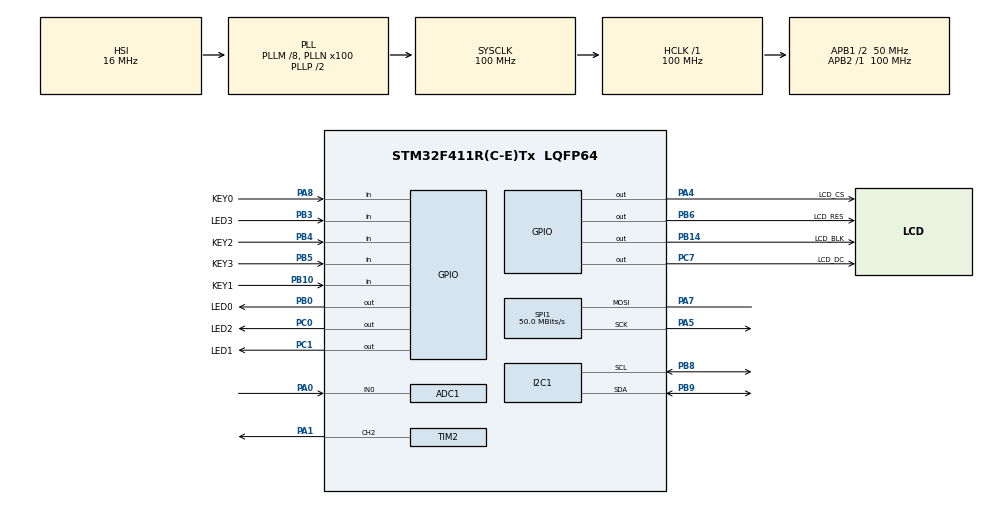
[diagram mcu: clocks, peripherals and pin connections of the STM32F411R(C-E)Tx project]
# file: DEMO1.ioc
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ADC1.Channel-0\#ChannelRegularConversion=ADC_CHANNEL_0
ADC1.ClockPrescaler=ADC_CLOCK_SYNC_PCLK_DIV6
ADC1.ContinuousConvMode=DISABLE
ADC1.DMAContinuousRequests=ENABLE
ADC1.EOCSelection=ADC_EOC_SINGLE_CONV
ADC1.NbrOfConversion=1
ADC1.NbrOfConversionFlag=1
ADC1.Rank-0\#ChannelRegularConversion=1
ADC1.SamplingTime-0\#ChannelRegularConversion=ADC_SAMPLETIME_15CYCLES
ADC1.ScanConvMode=DISABLE
ADC1.master=1
Dma.ADC1.0.Direction=DMA_PERIPH_TO_MEMORY
Dma.ADC1.0.FIFOMode=DMA_FIFOMODE_DISABLE
Dma.ADC1.0.Instance=DMA2_Stream0
Dma.ADC1.0.MemDataAlignment=DMA_MDATAALIGN_HALFWORD
Dma.ADC1.0.MemInc=DMA_MINC_ENABLE
Dma.ADC1.0.Mode=DMA_CIRCULAR
Dma.ADC1.0.PeriphDataAlignment=DMA_PDATAALIGN_HALFWORD
Dma.ADC1.0.PeriphInc=DMA_PINC_DISABLE
Dma.ADC1.0.Priority=DMA_PRIORITY_LOW
Dma.Request0=ADC1
Dma.Request1=SPI1_TX
Dma.SPI1_TX.1.Direction=DMA_MEMORY_TO_PERIPH
Dma.SPI1_TX.1.FIFOMode=DMA_FIFOMODE_DISABLE
Dma.SPI1_TX.1.Instance=DMA2_Stream2
Dma.SPI1_TX.1.MemDataAlignment=DMA_MDATAALIGN_BYTE
Dma.SPI1_TX.1.MemInc=DMA_MINC_ENABLE
Dma.SPI1_TX.1.Mode=DMA_NORMAL
Dma.SPI1_TX.1.PeriphDataAlignment=DMA_PDATAALIGN_BYTE
Dma.SPI1_TX.1.PeriphInc=DMA_PINC_DISABLE
Dma.SPI1_TX.1.Priority=DMA_PRIORITY_HIGH
FREERTOS.Mutexes01=myMutex,Dynamic,NULL,Available
FREERTOS.Tasks01=defaultTask,0,128,StartDefaultTask,As weak,NULL,Dynamic,NULL,NULL;LCDTask,0,1024,StartLCDTask,As weak,NULL,Dynamic,NULL,NULL;TIMETask03,0,128,StartTask03,As weak,NULL,Dynamic,NULL,NULL;LM75Task,-3,128,StartLM75Task,As weak,NULL,Dynamic,NULL,NULL;ADCTask,-3,128,StartADCTask,As weak,NULL,Dynamic,NULL,NULL;LEDTask,-3,128,StartLEDTask,As weak,NULL,Dynamic,NULL,NULL;BEEPTask,-3,128,StartBEEPTask,As weak,NULL,Dynamic,NULL,NULL
FREERTOS.configUSE_TICK_HOOK=1
Mcu.Family=STM32F4
Mcu.Name=STM32F411R(C-E)Tx
Mcu.Package=LQFP64
NVIC.DMA2_Stream0_IRQn=true\:5\:0\:false\:false\:true\:true\:false\:true\:true
NVIC.DMA2_Stream2_IRQn=true\:5\:0\:false\:false\:true\:true\:false\:true\:true
NVIC.I2C1_ER_IRQn=true\:5\:0\:false\:false\:true\:true\:true\:true\:true
NVIC.I2C1_EV_IRQn=true\:5\:0\:false\:false\:true\:true\:true\:true\:true
NVIC.PriorityGroup=NVIC_PRIORITYGROUP_4
NVIC.SPI1_IRQn=true\:5\:0\:false\:false\:true\:true\:true\:true\:true
NVIC.TIM1_UP_TIM10_IRQn=true\:5\:0\:false\:false\:true\:true\:true\:true\:true
NVIC.TIM2_IRQn=true\:5\:0\:false\:false\:true\:true\:true\:true\:true
NVIC.TIM4_IRQn=true\:15\:0\:false\:false\:true\:false\:false\:true\:true
NVIC.TimeBase=TIM4_IRQn
NVIC.TimeBaseIP=TIM4
PA0-WKUP.Signal=ADCx_IN0
PA1.Signal=S_TIM2_CH2
PA13.Mode=Serial_Wire
PA13.Signal=SYS_JTMS-SWDIO
PA14.Mode=Serial_Wire
PA14.Signal=SYS_JTCK-SWCLK
PA4.GPIO_Label=LCD_CS
PA4.Signal=GPIO_Output
PA5.Mode=Simplex_Bidirectional_Master
PA5.Signal=SPI1_SCK
PA7.Mode=Simplex_Bidirectional_Master
PA7.Signal=SPI1_MOSI
PA8.GPIO_Label=KEY0
PA8.Signal=GPIO_Input
PB0.GPIO_Label=LED0
PB0.Signal=GPIO_Output
PB10.GPIO_Label=KEY1
PB10.Signal=GPIO_Input
PB14.GPIO_Label=LCD_BLK
PB14.Signal=GPIO_Output
PB3.GPIO_Label=LED3
PB3.Signal=GPIO_Input
PB4.GPIO_Label=KEY2
PB4.Signal=GPIO_Input
PB5.GPIO_Label=KEY3
PB5.Signal=GPIO_Input
PB6.GPIO_Label=LCD_RES
PB6.Signal=GPIO_Output
PB8.Mode=I2C
PB8.Signal=I2C1_SCL
PB9.Mode=I2C
PB9.Signal=I2C1_SDA
PC0.GPIO_Label=LED2
PC0.Signal=GPIO_Output
PC1.GPIO_Label=LED1
PC1.Signal=GPIO_Output
PC14-OSC32_IN.Mode=LSE-External-Clock-Source
PC14-OSC32_IN.Signal=RCC_OSC32_IN
PC15-OSC32_OUT.Mode=LSE-External-Clock-Source
PC15-OSC32_OUT.Signal=RCC_OSC32_OUT
PC7.GPIO_Label=LCD_DC
PC7.Signal=GPIO_Output
PH0\ -\ OSC_IN.Mode=HSE-External-Oscillator
PH0\ -\ OSC_IN.Signal=RCC_OSC_IN
PH1\ -\ OSC_OUT.Mode=HSE-External-Oscillator
PH1\ -\ OSC_OUT.Signal=RCC_OSC_OUT
ProjectManager.HeapSize=0x200
ProjectManager.StackSize=0x400
ProjectManager.TargetToolchain=MDK-ARM V5.32
RCC.48MHZClocksFreq_Value=50000000
RCC.AHBFreq_Value=100000000
RCC.APB1CLKDivider=RCC_HCLK_DIV2
RCC.APB1Freq_Value=50000000
RCC.APB1TimFreq_Value=100000000
RCC.APB2Freq_Value=100000000
RCC.APB2TimFreq_Value=100000000
RCC.CortexFreq_Value=100000000
RCC.HCLKFreq_Value=100000000
RCC.HSE_VALUE=8000000
RCC.HSI_VALUE=16000000
RCC.LSE_VALUE=32768
RCC.PLLM=8
RCC.PLLN=100
RCC.SYSCLKFreq_VALUE=100000000
RCC.SYSCLKSource=RCC_SYSCLKSOURCE_PLLCLK
RCC.VCOOutputFreq_Value=200000000
SH.ADCx_IN0.0=ADC1_IN0,IN0
SH.S_TIM2_CH2.0=TIM2_CH2,PWM Generation2 CH2
SPI1.BaudRatePrescaler=SPI_BAUDRATEPRESCALER_2
SPI1.CLKPhase=SPI_PHASE_2EDGE
SPI1.CLKPolarity=SPI_POLARITY_HIGH
SPI1.CalculateBaudRate=50.0 MBits/s
SPI1.Direction=SPI_DIRECTION_1LINE
SPI1.Mode=SPI_MODE_MASTER
SPI1.VirtualType=VM_MASTER
TIM10.Period=9999
TIM10.Prescaler=49
TIM2.Channel-PWM\ Generation2\ CH2=TIM_CHANNEL_2
TIM2.Period=72
TIM2.Prescaler=3816
VP_FREERTOS_VS_CMSIS_V1.Mode=CMSIS_V1
VP_SYS_VS_tim4.Mode=TIM4
VP_TIM10_VS_ClockSourceINT.Mode=Enable_Timer
VP_TIM2_VS_ClockSourceINT.Mode=Internal
board=custom

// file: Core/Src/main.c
/* USER CODE BEGIN Header */
/**
  ******************************************************************************
  * @file           : main.c
  * @brief          : Main program body
  ******************************************************************************
  * @attention
  *
  * Copyright (c) 2025 STMicroelectronics.
  * All rights reserved.
  *
  * This software is licensed under terms that can be found in the LICENSE file
  * in the root directory of this software component.
  * If no LICENSE file comes with this software, it is provided AS-IS.
  *
  ******************************************************************************
  */
/* USER CODE END Header */
#include "main.h"
#include "cmsis_os.h"
#include "adc.h"
#include "dma.h"
#include "i2c.h"
#include "spi.h"
#include "tim.h"
#include "gpio.h"

/* USER CODE BEGIN Includes */
#include "st7789.h"
#include "key.h"
#include "LM75AD.h"
#include "lvgl.h"
#include "lv_port_disp.h"
#include "lv_port_indev.h"
#include "gui_guider.h"
#include "events_init.h"
#include "custom.h"
#include "BEEP.h"
/* USER CODE END Includes */

/* USER CODE BEGIN PV */
double temperature=0;
volatile  float voltage=0;
char buffer[100];
volatile uint16_t adcValue = 0; // ADC
/* USER CODE END PV */

void SystemClock_Config(void);
void MX_FREERTOS_Init(void);

/* USER CODE BEGIN 0 */
extern osMutexId myMutexHandle;
volatile int con=0;

 lv_ui guider_ui;

extern int screen_analog_clock_1_hour_value ;
extern int screen_analog_clock_1_min_value ;
extern int screen_analog_clock_1_sec_value;
extern unsigned short int alarm_min;
extern unsigned short int alarm_hour;

volatile bool need_ui_update = false; // UI
//
void update_ui_if_needed(void)
{
  static uint32_t last_update = 0;
  uint32_t now = HAL_GetTick();

  // creen_3
  bool is_screen3_active = (lv_scr_act() == guider_ui.screen_3);

  // UI
  if(need_ui_update && (now - last_update > 200) && is_screen3_active) {
    // creen_3
    if(lv_scr_act() != guider_ui.screen_3) {
      return; //
    }

    last_update = now;
    need_ui_update = false;

    //
    if(guider_ui.screen_3_temp != NULL && lv_obj_is_valid(guider_ui.screen_3_temp)) {
      char temp_str[20];
      sprintf(temp_str, "%.1f C", temperature);
      lv_label_set_text(guider_ui.screen_3_temp, temp_str);
    }

    if(guider_ui.screen_3_bar_2 != NULL && lv_obj_is_valid(guider_ui.screen_3_bar_2)) {
      int temp_value = (int)(temperature);
      if(temp_value < 0) temp_value = 0;
      if(temp_value > 100) temp_value = 100;
      lv_bar_set_value(guider_ui.screen_3_bar_2, temp_value, LV_ANIM_ON);
    }

    //
    if(guider_ui.screen_3_voltage != NULL && lv_obj_is_valid(guider_ui.screen_3_voltage)) {
      char volt_str[20];
      sprintf(volt_str, "%.2f V", voltage);
      lv_label_set_text(guider_ui.screen_3_voltage, volt_str);
    }

    if(guider_ui.screen_3_bar_1 != NULL && lv_obj_is_valid(guider_ui.screen_3_bar_1)) {
      int volt_value = (int)(voltage * 100);
      lv_bar_set_value(guider_ui.screen_3_bar_1, volt_value, LV_ANIM_ON);
    }
  }
}
/* USER CODE END 0 */

int main(void)
{

  /* MCU Configuration--------------------------------------------------------*/

  /* Reset of all peripherals, Initializes the Flash interface and the Systick. */
  HAL_Init();

  /* Configure the system clock */
  SystemClock_Config();

  /* Initialize all configured peripherals */
  MX_GPIO_Init();
  MX_DMA_Init();
  MX_ADC1_Init();
  MX_I2C1_Init();
  MX_SPI1_Init();
  MX_TIM10_Init();
  MX_TIM2_Init();

  /* Call init function for freertos objects (in cmsis_os2.c) */
  MX_FREERTOS_Init();

  /* Start scheduler */
  osKernelStart();

  /* We should never get here as control is now taken by the scheduler */

  /* Infinite loop */
  while (1)
  {

  }
}

void SystemClock_Config(void)
{
  RCC_OscInitTypeDef RCC_OscInitStruct = {0};
  RCC_ClkInitTypeDef RCC_ClkInitStruct = {0};

  /** Configure the main internal regulator output voltage
  */
  __HAL_RCC_PWR_CLK_ENABLE();
  __HAL_PWR_VOLTAGESCALING_CONFIG(PWR_REGULATOR_VOLTAGE_SCALE1);

  /** Initializes the RCC Oscillators according to the specified parameters
  * in the RCC_OscInitTypeDef structure.
  */
  RCC_OscInitStruct.OscillatorType = RCC_OSCILLATORTYPE_HSI;
  RCC_OscInitStruct.HSIState = RCC_HSI_ON;
  RCC_OscInitStruct.HSICalibrationValue = RCC_HSICALIBRATION_DEFAULT;
  RCC_OscInitStruct.PLL.PLLState = RCC_PLL_ON;
  RCC_OscInitStruct.PLL.PLLSource = RCC_PLLSOURCE_HSI;
  RCC_OscInitStruct.PLL.PLLM = 8;
  RCC_OscInitStruct.PLL.PLLN = 100;
  RCC_OscInitStruct.PLL.PLLP = RCC_PLLP_DIV2;
  RCC_OscInitStruct.PLL.PLLQ = 4;
  if (HAL_RCC_OscConfig(&RCC_OscInitStruct) != HAL_OK)
  {
    Error_Handler();
  }

  /** Initializes the CPU, AHB and APB buses clocks
  */
  RCC_ClkInitStruct.ClockType = RCC_CLOCKTYPE_HCLK|RCC_CLOCKTYPE_SYSCLK
                              |RCC_CLOCKTYPE_PCLK1|RCC_CLOCKTYPE_PCLK2;
  RCC_ClkInitStruct.SYSCLKSource = RCC_SYSCLKSOURCE_PLLCLK;
  RCC_ClkInitStruct.AHBCLKDivider = RCC_SYSCLK_DIV1;
  RCC_ClkInitStruct.APB1CLKDivider = RCC_HCLK_DIV2;
  RCC_ClkInitStruct.APB2CLKDivider = RCC_HCLK_DIV1;

  if (HAL_RCC_ClockConfig(&RCC_ClkInitStruct, FLASH_LATENCY_3) != HAL_OK)
  {
    Error_Handler();
  }
}

/* USER CODE BEGIN 4 */
void StartLCDTask(void const * argument)
{
  /* USER CODE BEGIN StartLCDTask */

  lv_init();
  lv_port_disp_init();
  lv_port_indev_init();

osMutexWait(myMutexHandle, osWaitForever);

// 创建启动标志
lv_obj_t* logo_cont = lv_obj_create(lv_scr_act());
lv_obj_set_size(logo_cont, LV_HOR_RES, LV_VER_RES);
lv_obj_set_style_bg_color(logo_cont, lv_color_hex(0x000000), 0);

// 添加文本
lv_obj_t* logo_label = lv_label_create(logo_cont);
lv_label_set_text(logo_label, "MY CLOCK\nStarting...");
lv_obj_set_style_text_font(logo_label, &lv_font_montserratMedium_21, 0);
lv_obj_set_style_text_color(logo_label, lv_color_white(), 0);
lv_obj_align(logo_label, LV_ALIGN_CENTER, 0, 0);

// 显示动画效果
for(int i = 0; i < 25; i++) {
    lv_obj_set_style_text_opa(logo_label, i*10, 0);
    lv_task_handler();
    osDelay(100);
}

// 显示一段时间后删除
osDelay(1000);
lv_obj_del(logo_cont);
osMutexRelease(myMutexHandle);

  // Initialize regular UI
  setup_ui(&guider_ui);
  events_init(&guider_ui);
  custom_init(&guider_ui);

  /* Infinite loop */
  for(;;)
  {

    osMutexWait(myMutexHandle, osWaitForever);
	lv_task_handler();
  update_ui_if_needed();
   osMutexRelease(myMutexHandle);
   osDelay(10);
  }
  /* USER CODE END StartLCDTask */
}
 void StartADCTask(void const * argument)
{
  /* USER CODE BEGIN StartADCTask */
  char volt_str[20];
	//hadc1.Instance->CR2 |= ADC_CR2_DDS;
   // HAL_ADC_Start_DMA(&hadc1, (uint32_t*)&adcValue, 1);
  /* Infinite loop */
  for(;;)
  {
     // ADC值
     HAL_ADC_Start(&hadc1);
	  HAL_ADC_PollForConversion(&hadc1, 50);
		if(HAL_IS_BIT_SET(HAL_ADC_GetState(&hadc1), HAL_ADC_STATE_REG_EOC))
		{
		voltage = HAL_ADC_GetValue(&hadc1)*3.3f/4096;
		}
    need_ui_update = true;
     osDelay(100);
  }
  /* USER CODE END StartADCTask */
}
void StartTask03(void const * argument)
{
  /* USER CODE BEGIN StartTask03 */
	BTN_Init();
  /* Infinite loop */
  for(;;)
  {
	button_ticks();
    osDelay(5);
  }
  /* USER CODE END StartTask03 */
}

void StartLM75Task(void const * argument)
{
  /* USER CODE BEGIN StartLM75Task */
	LM75AD_Init();
  char temp_str[20];
  /* Infinite loop */
  for(;;)
  {
	temperature = LM75AD_GetTemp();
  need_ui_update = true;
    osDelay(500);
  }
  /* USER CODE END StartLM75Task */
}

void StartBEEPTask(void const * argument)
{
  /* USER CODE BEGIN StartRTCTask */
 BEEP_Init();
  /* Infinite loop */
  for(;;)
  {
    if(alarm_hour==screen_analog_clock_1_hour_value && alarm_min==screen_analog_clock_1_min_value&&screen_analog_clock_1_sec_value==0)
    {
		BEEP_os_music(MUSIC1,36);
    }
    osDelay(500);
  }
  /* USER CODE END StartRTCTask */
}

/* USER CODE END 4 */

void HAL_TIM_PeriodElapsedCallback(TIM_HandleTypeDef *htim)
{
  if (htim->Instance == TIM4) {
    HAL_IncTick();
  }
}

void Error_Handler(void)
{
  __disable_irq();
  while (1)
  {
  }
}

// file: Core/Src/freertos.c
/* USER CODE BEGIN Header */
/**
  ******************************************************************************
  * File Name          : freertos.c
  * Description        : Code for freertos applications
  ******************************************************************************
  * @attention
  *
  * Copyright (c) 2025 STMicroelectronics.
  * All rights reserved.
  *
  * This software is licensed under terms that can be found in the LICENSE file
  * in the root directory of this software component.
  * If no LICENSE file comes with this software, it is provided AS-IS.
  *
  ******************************************************************************
  */
/* USER CODE END Header */

#include "FreeRTOS.h"
#include "task.h"
#include "main.h"
#include "cmsis_os.h"

/* USER CODE BEGIN Includes */
#include "lvgl.h"
/* USER CODE END Includes */

osThreadId defaultTaskHandle;
osThreadId LCDTaskHandle;
osThreadId TIMETask03Handle;
osThreadId LM75TaskHandle;
osThreadId ADCTaskHandle;
osThreadId LEDTaskHandle;
osThreadId BEEPTaskHandle;
osMutexId myMutexHandle;

void StartDefaultTask(void const * argument);
void StartLCDTask(void const * argument);
void StartTask03(void const * argument);
void StartLM75Task(void const * argument);
void StartADCTask(void const * argument);
void StartLEDTask(void const * argument);
void StartBEEPTask(void const * argument);

void MX_FREERTOS_Init(void); /* (MISRA C 2004 rule 8.1) */

/* GetIdleTaskMemory prototype (linked to static allocation support) */
void vApplicationGetIdleTaskMemory( StaticTask_t **ppxIdleTaskTCBBuffer, StackType_t **ppxIdleTaskStackBuffer, uint32_t *pulIdleTaskStackSize );

/* Hook prototypes */
void vApplicationTickHook(void);

/* USER CODE BEGIN 3 */
__weak void vApplicationTickHook( void )
{
   /* This function will be called by each tick interrupt if
   configUSE_TICK_HOOK is set to 1 in FreeRTOSConfig.h. User code can be
   added here, but the tick hook is called from an interrupt context, so
   code must not attempt to block, and only the interrupt safe FreeRTOS API
   functions can be used (those that end in FromISR()). */
	lv_tick_inc(1);
}
/* USER CODE END 3 */

/* USER CODE BEGIN GET_IDLE_TASK_MEMORY */
static StaticTask_t xIdleTaskTCBBuffer;
static StackType_t xIdleStack[configMINIMAL_STACK_SIZE];

void vApplicationGetIdleTaskMemory( StaticTask_t **ppxIdleTaskTCBBuffer, StackType_t **ppxIdleTaskStackBuffer, uint32_t *pulIdleTaskStackSize )
{
  *ppxIdleTaskTCBBuffer = &xIdleTaskTCBBuffer;
  *ppxIdleTaskStackBuffer = &xIdleStack[0];
  *pulIdleTaskStackSize = configMINIMAL_STACK_SIZE;
  /* place for user code */
}
/* USER CODE END GET_IDLE_TASK_MEMORY */

void MX_FREERTOS_Init(void) {
  /* Create the mutex(es) */
  /* definition and creation of myMutex */
  osMutexDef(myMutex);
  myMutexHandle = osMutexCreate(osMutex(myMutex));

  /* Create the thread(s) */
  /* definition and creation of defaultTask */
  osThreadDef(defaultTask, StartDefaultTask, osPriorityNormal, 0, 128);
  defaultTaskHandle = osThreadCreate(osThread(defaultTask), NULL);

  /* definition and creation of LCDTask */
  osThreadDef(LCDTask, StartLCDTask, osPriorityNormal, 0, 1024);
  LCDTaskHandle = osThreadCreate(osThread(LCDTask), NULL);

  /* definition and creation of TIMETask03 */
  osThreadDef(TIMETask03, StartTask03, osPriorityNormal, 0, 128);
  TIMETask03Handle = osThreadCreate(osThread(TIMETask03), NULL);

  /* definition and creation of LM75Task */
  osThreadDef(LM75Task, StartLM75Task, osPriorityIdle, 0, 128);
  LM75TaskHandle = osThreadCreate(osThread(LM75Task), NULL);

  /* definition and creation of ADCTask */
  osThreadDef(ADCTask, StartADCTask, osPriorityIdle, 0, 128);
  ADCTaskHandle = osThreadCreate(osThread(ADCTask), NULL);

  /* definition and creation of LEDTask */
  osThreadDef(LEDTask, StartLEDTask, osPriorityIdle, 0, 128);
  LEDTaskHandle = osThreadCreate(osThread(LEDTask), NULL);

  /* definition and creation of BEEPTask */
  osThreadDef(BEEPTask, StartBEEPTask, osPriorityIdle, 0, 128);
  BEEPTaskHandle = osThreadCreate(osThread(BEEPTask), NULL);

}

__weak void StartDefaultTask(void const * argument)
{
  /* USER CODE BEGIN StartDefaultTask */
  /* Infinite loop */
  for(;;)
  {
     HAL_GPIO_TogglePin(LED0_GPIO_Port,LED0_Pin);
    osDelay(3000);
  }
  /* USER CODE END StartDefaultTask */
}

__weak void StartLCDTask(void const * argument)
{
  for(;;)
  {
    osDelay(1);
  }
}

__weak void StartTask03(void const * argument)
{
  for(;;)
  {
    osDelay(1);
  }
}

__weak void StartLM75Task(void const * argument)
{
  for(;;)
  {
    osDelay(1);
  }
}

__weak void StartADCTask(void const * argument)
{
  for(;;)
  {
    osDelay(1);
  }
}

__weak void StartLEDTask(void const * argument)
{
  for(;;)
  {
    osDelay(1);
  }
}

__weak void StartBEEPTask(void const * argument)
{
  for(;;)
  {
    osDelay(1);
  }
}
